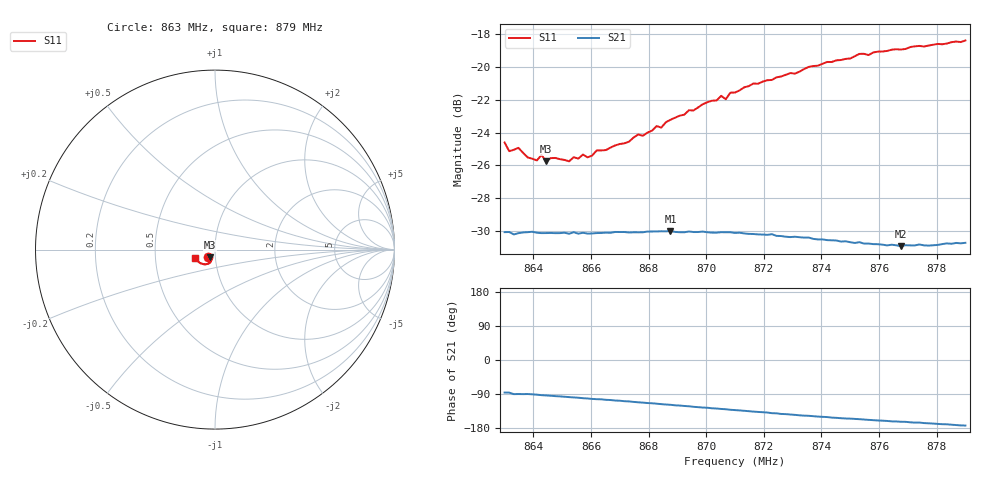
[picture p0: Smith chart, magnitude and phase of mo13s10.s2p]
# HZ S RI R 50
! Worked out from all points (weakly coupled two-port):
!   101 points, 863 MHz to 879 MHz, reference 50 ohm
!   highest |S21| = -30.01 dB at 868.76 MHz (marker M1); lowest = -30.9 dB at 876.76 MHz (marker M2)
!   lowest |S11| = -25.8 dB at 864.44 MHz (marker M3), VSWR 1.11, Z = 47 - j4.03 ohm
!   |S11| at or under -10 dB: start of sweep to end of sweep
!   S12 and S22 are empty: the file has one direction only
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8.63e8  -0.041 -0.0422  0.00227 -0.0313  0 0  0 0
8.6316e8  -0.0377 -0.0406  0.00214 -0.0313  0 0  0 0
8.6348e8  -0.0374 -0.0426  0.000115 -0.0311  0 0  0 0
8.638e8  -0.0333 -0.0412  0.000113 -0.0313  0 0  0 0
8.6412e8  -0.031 -0.0416  -0.000789 -0.0312  0 0  0 0
8.6428e8  -0.031 -0.0441  -0.00151 -0.0311  0 0  0 0
8.6444e8  -0.0288 -0.0428  -0.00194 -0.0311  0 0  0 0
8.6476e8  -0.0288 -0.0443  -0.00289 -0.031  0 0  0 0
8.6524e8  -0.0255 -0.0449  -0.00428 -0.0307  0 0  0 0
8.6572e8  -0.025 -0.048  -0.00585 -0.0307  0 0  0 0
8.6588e8  -0.024 -0.0473  -0.0062 -0.0304  0 0  0 0
8.662e8  -0.0239 -0.0503  -0.00723 -0.0303  0 0  0 0
8.6764e8  -0.0216 -0.0584  -0.0115 -0.0291  0 0  0 0
8.678e8  -0.0206 -0.0582  -0.012 -0.0289  0 0  0 0
8.6828e8  -0.0219 -0.0624  -0.0135 -0.0285  0 0  0 0
8.6844e8  -0.0211 -0.0619  -0.0141 -0.0282  0 0  0 0
8.6876e8  -0.0234 -0.065  -0.0149 -0.0278  0 0  0 0
8.71e8  -0.0337 -0.0766  -0.0209 -0.0231  0 0  0 0
8.7372e8  -0.0574 -0.0829  -0.0254 -0.0157  0 0  0 0
8.7644e8  -0.0872 -0.072  -0.0273 -0.00889  0 0  0 0
8.7676e8  -0.0897 -0.069  -0.0272 -0.00831  0 0  0 0
8.79e8  -0.1102 -0.0492  -0.0289 -0.00356  0 0  0 0
